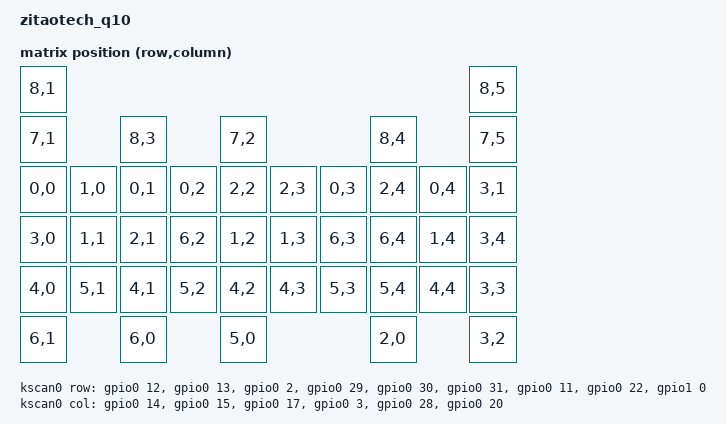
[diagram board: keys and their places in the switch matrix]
/*
 * Copyright (c) 2023 ZitaoTech
 *
 * SPDX-License-Identifier: MIT
 */

/dts-v1/;
#include <nordic/nrf52840_qiaa.dtsi>
#include <common/nordic/nrf52840_uf2_boot_mode.dtsi>
#include <zephyr/dt-bindings/pwm/pwm.h>
#include <zephyr/dt-bindings/i2c/i2c.h>
#include <zephyr/dt-bindings/input/input-event-codes.h>
#include <dt-bindings/zmk/keys.h>
#include <behaviors/runtime_tap_dance.dtsi>
#define ZMK_BEHAVIORS_KEEP_DEFAULT_LAYER
#include <behaviors/default_layer.dtsi>
#include <dt-bindings/led/led.h>
#include <dt-bindings/zmk/matrix_transform.h>

/* Keymap layer used as the automatic mouse layer (see &bbtrackpad_listener). */
#define MOUSE_LAYER_ID 4

/ {
    input_processors {
        /* Holds MOUSE_LAYER_ID while the trackpad reports movement. */
        zip_temp_layer: zip_temp_layer {
            compatible = "zmk,input-processor-temp-layer";
            #input-processor-cells = <2>;
        };
    };
};
#include "zitaotech_q10-layouts.dtsi"

/ {
    model = "zitaotech_q10";
    compatible = "ZitaoTech,zitaotech_q10";

    chosen {
        zephyr,code-partition = &code_partition;
        zephyr,sram = &sram0;
        zephyr,flash = &flash0;
        zephyr,console = &cdc_acm_uart;
        zmk,battery = &vbatt;
        zmk,kscan = &kscan0;
        zmk,physical-layouts = &zitaotech_q10_layout;
        zmk,keyboard_backlight = &keyboard_backlight;
        zmk,layer_indicator = &keyboard_backlight;
        zmk,trackpad_led = &trackpad_led;
        zmk,backlight = &backlight;
        zmk,studio-rpc-uart = &cdc_acm_uart; // ✅ enable ZMK Studio
    };

    keyboard_backlight: pwmledfo{
        compatible = "pwm-leds";
        pwm_led_0 {
            pwms = <&pwm2 0 PWM_USEC(20) PWM_POLARITY_NORMAL>;
        };
    };

    trackpad_led: pwmledo{
        compatible = "pwm-leds";
        pwm_led_0 {
            pwms = <&pwm1 0 PWM_USEC(20) PWM_POLARITY_NORMAL>;
        };
    };

    backlight: pwmleds {
        compatible = "pwm-leds";
        pwm_led_0 {
            pwms = <&pwm0 0 PWM_MSEC(10) PWM_POLARITY_NORMAL>;
        };
    };

    default_transform: keymap_transform_0 {
        compatible = "zmk,matrix-transform";
        columns = <6>;
        rows = <9>;
        map = <
RC(8,1)                                                                   RC(8,5)
RC(7,1)          RC(8,3)             RC(7,2)             RC(8,4)          RC(7,5)
RC(0,0)  RC(1,0) RC(0,1) RC(0,2) RC(2,2) RC(2,3) RC(0,3) RC(2,4) RC(0,4)  RC(3,1)
RC(3,0)  RC(1,1) RC(2,1) RC(6,2) RC(1,2) RC(1,3) RC(6,3) RC(6,4) RC(1,4)  RC(3,4)
RC(4,0)  RC(5,1) RC(4,1) RC(5,2) RC(4,2) RC(4,3) RC(5,3) RC(5,4) RC(4,4)  RC(3,3)
RC(6,1)          RC(6,0)             RC(5,0)             RC(2,0)          RC(3,2)
        >;
    };

    kscan0: kscan {
        compatible = "zmk,kscan-gpio-matrix";
        diode-direction = "col2row";
        wakeup-source;
        /*
         * The Q10 matrix has no diodes.  Keep the unselected columns high
         * impedance (open source, driven high only while selected) so that
         * two keys in the same row do not short two actively driven columns
         * together.  The rows stay pulled down and read high when pressed.
         */
        row-gpios
            = <&gpio0 12 (GPIO_ACTIVE_HIGH | GPIO_PULL_DOWN)>
            , <&gpio0 13  (GPIO_ACTIVE_HIGH | GPIO_PULL_DOWN)>
            , <&gpio0 2 (GPIO_ACTIVE_HIGH | GPIO_PULL_DOWN)>
            , <&gpio0 29  (GPIO_ACTIVE_HIGH | GPIO_PULL_DOWN)>
            , <&gpio0 30  (GPIO_ACTIVE_HIGH | GPIO_PULL_DOWN)>
            , <&gpio0 31 (GPIO_ACTIVE_HIGH | GPIO_PULL_DOWN)>
            , <&gpio0 11 (GPIO_ACTIVE_HIGH | GPIO_PULL_DOWN)>
            , <&gpio0 22 (GPIO_ACTIVE_HIGH | GPIO_PULL_DOWN)>
            , <&gpio1 0 (GPIO_ACTIVE_HIGH | GPIO_PULL_DOWN)>
            ;
        col-gpios
            = <&gpio0 14  (GPIO_ACTIVE_HIGH | GPIO_OPEN_SOURCE)>
            , <&gpio0 15  (GPIO_ACTIVE_HIGH | GPIO_OPEN_SOURCE)>
            , <&gpio0 17  (GPIO_ACTIVE_HIGH | GPIO_OPEN_SOURCE)>
            , <&gpio0 3 (GPIO_ACTIVE_HIGH | GPIO_OPEN_SOURCE)>
            , <&gpio0 28 (GPIO_ACTIVE_HIGH | GPIO_OPEN_SOURCE)>
            , <&gpio0 20 (GPIO_ACTIVE_HIGH | GPIO_OPEN_SOURCE)>
            ;
    };

    leds {
        compatible = "gpio-leds";
        blue_led: led_0 {
            gpios = <&gpio0 10 GPIO_ACTIVE_HIGH>;
        };
    };

    // Node name must match original "EXT_POWER" label to preserve user settings.
    EXT_POWER {
        compatible = "zmk,ext-power-generic";
        control-gpios = <&gpio1 11 GPIO_ACTIVE_LOW>;
    };

    vbatt: vbatt {
        compatible = "zmk,battery-voltage-divider";
        io-channels = <&adc 2>;
        output-ohms = <2000000>;
        full-ohms = <2820000>;  // 2000000 + 820000
    };
};

&adc {
    status = "okay";
};

&gpiote {
    status = "okay";
};

&gpio0 {
    status = "okay";
};

&gpio1 {
    status = "okay";
};

&pwm0 {
    status = "okay";
    pinctrl-0 = <&pwm0_default>;
    pinctrl-1 = <&pwm0_sleep>;
    pinctrl-names = "default", "sleep";
};

&pwm1 {
    status = "okay";
    pinctrl-0 = <&pwm1_default>;
    pinctrl-1 = <&pwm1_sleep>;
    pinctrl-names = "default", "sleep";
};

&pwm2 {
    status = "okay";
    pinctrl-0 = <&pwm2_default>;
    pinctrl-1 = <&pwm2_sleep>;
    pinctrl-names = "default", "sleep";
};




&i2c0 {
    status = "okay";
    compatible = "nordic,nrf-twim";
    clock-frequency = <I2C_BITRATE_FAST>;
    pinctrl-0 = <&i2c0_default>;
    pinctrl-1 = <&i2c0_sleep>;
    pinctrl-names = "default", "sleep";

    bbtrackpad:a320@3b {
        compatible = "avago,a320";
        reg = <0x3B>;
        status = "okay";
    };
};


/ {
    bbtrackpad_listener: bbtrackpad_listener {
        compatible = "zmk,input-listener";
        status = "disabled";
        device = <&bbtrackpad>;
    };
};

&bbtrackpad_listener {
    status = "okay";
    /*
     * Automatic mouse layer: while the trackpad reports movement this holds
     * MOUSE_LAYER_ID active, and drops it again once no movement has arrived
     * for the timeout.  The timeout here is only the devicetree default -
     * zmk-feature-zitaotech-trackpad overrides both the timeout and whether
     * the layer may come up at all, so ZitaoTech Studio can switch the feature
     * off and change the time.
     */
    input-processors = <&zip_temp_layer MOUSE_LAYER_ID 1000>;
};



&usbd {
    status = "okay";
    cdc_acm_uart: cdc_acm_uart {
        compatible = "zephyr,cdc-acm-uart";
    };
};

&zitaotech_q10_layout{
	transform = <&default_transform>;
	kscan = <&kscan0>;
};

zephyr_udc0: &usbd {
    compatible = "nordic,nrf-usbd";
    status = "okay";
};

&pinctrl {
    i2c0_default: i2c0_default {
        group1 {
            psels = <NRF_PSEL(TWIM_SDA, 1, 9)>,
                <NRF_PSEL(TWIM_SCL, 0, 8)>;
        };
    };

    i2c0_sleep: i2c0_sleep {
        group1 {
            psels = <NRF_PSEL(TWIM_SDA, 1, 9)>,
                <NRF_PSEL(TWIM_SCL, 0, 8)>;
            low-power-enable;
        };
    };
    pwm0_default:pwm0_default{
        group1{
            psels = <NRF_PSEL(PWM_OUT0, 1, 4)>; // Backlight for backlight.c unreal
        };
    };

    pwm0_sleep: pwm0_sleep {
        group1 {
            psels = <NRF_PSEL(PWM_OUT0, 1, 4)>;
            bias-pull-down;
        };
    };

    pwm1_default:pwm1_default{
        group1{
            psels = <NRF_PSEL(PWM_OUT0, 1, 13)>; // Backlight for Trackpad LED
        };
    };

    pwm1_sleep: pwm1_sleep {
        group1 {
            psels = <NRF_PSEL(PWM_OUT0, 1, 13)>;
            bias-pull-down;
        };
    };

    pwm2_default: pwm2_default {
        group1 {
            psels = <NRF_PSEL(PWM_OUT0, 1, 6)>; // Backlight for Keyboard middle LED
        };
    };

    pwm2_sleep: pwm2_sleep {
        group1 {
            psels = <NRF_PSEL(PWM_OUT0, 1, 6)>;
            bias-pull-down;
        };
    };
};

&flash0 {
    /*
     * For more information, see:
     * http://docs.zephyrproject.org/latest/devices/dts/flash_partitions.html
     */
    partitions {
        compatible = "fixed-partitions";
        #address-cells = <1>;
        #size-cells = <1>;

        sd_partition: partition@0 {
            reg = <0x00000000 0x00001000>;
        };

        code_partition: partition@1000 {
            reg = <0x00001000 0x000d3000>;
        };

        /*
         * The flash starting at 0x000d4000 and ending at
         * 0x000f3fff is reserved for use by the application.
         */

        /*
         * Storage partition will be used by FCB/LittleFS/NVS
         * if enabled.
         */
        storage_partition: partition@d4000 {
            reg = <0x000d4000 0x00020000>;
        };

        boot_partition: partition@f4000 {
            reg = <0x000f4000 0x0000c000>;
        };
    };
};
